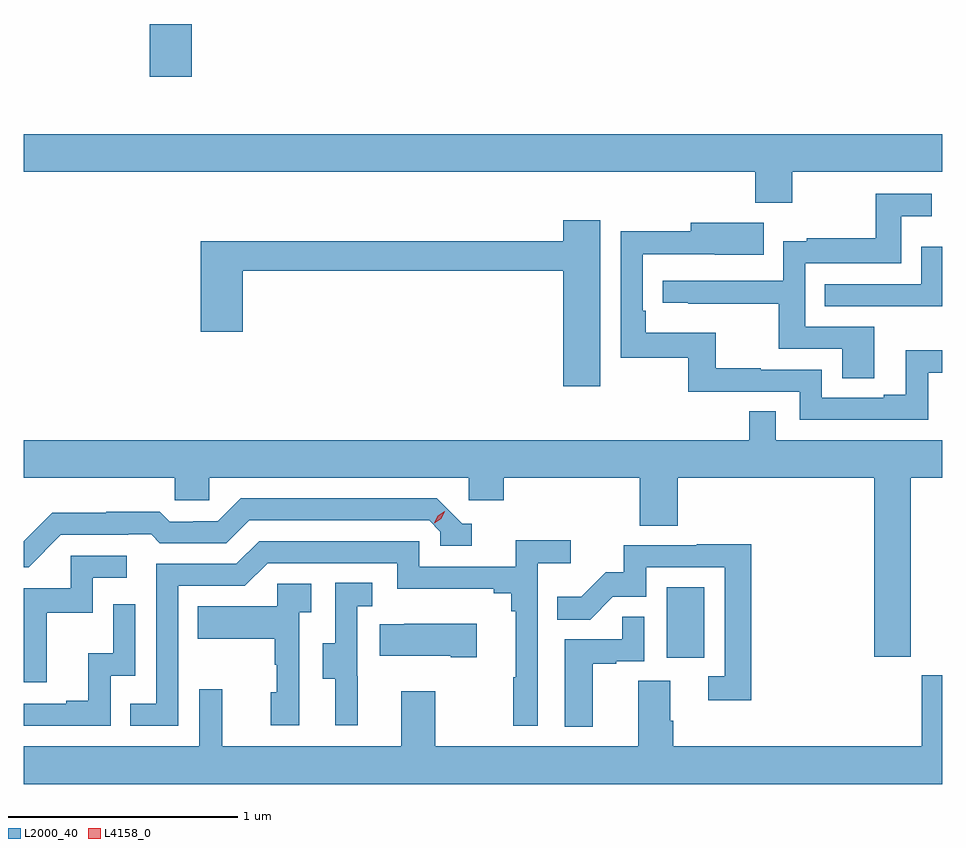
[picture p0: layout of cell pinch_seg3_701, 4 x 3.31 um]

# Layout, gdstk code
import gdstk
lib = gdstk.Library(unit=1e-6, precision=1e-09)
def R(c, l, rs):  # rectangles x0, y0, x1, y1
    for r in rs: c.add(gdstk.rectangle(r[:2], r[2:], *l))
def P(c, l, *ps):  # polygons
    for p in ps: c.add(gdstk.Polygon(p, *l))
L2000_40 = (2000, 40)
L4158_0 = (4158, 0)

pinch_seg3_701 = lib.new_cell('pinch_seg3_701')
R(pinch_seg3_701, L2000_40, [(1108.862,673.494,1109.026,673.801), (1106.612,676.023,1106.795,676.252)])
P(pinch_seg3_701, L2000_40, [(1109.409,675.608),(1110.063,675.608),(1110.063,675.772),(1106.063,675.772),(1106.063,675.608),(1109.249,675.608),(1109.249,675.473),(1109.409,675.473)],
  [(1109.767,674.934),(1109.466,674.934),(1109.466,675.21),(1109.883,675.21),(1109.883,675.416),(1110.017,675.416),(1110.017,675.513),(1109.772,675.513),(1109.772,675.319),(1109.473,675.319),(1109.473,675.307),(1109.37,675.307),(1109.37,675.135),(1108.845,675.135),(1108.845,675.039),(1108.957,675.039),(1108.957,675.034),(1109.35,675.034),(1109.35,674.838),(1109.627,674.838),(1109.627,674.71),(1109.767,674.71)],
  [(1108.573,675.397),(1108.412,675.397),(1108.412,675.307),(1106.834,675.307),(1106.834,674.913),(1107.017,674.913),(1107.017,675.178),(1108.412,675.178),(1108.412,674.676),(1108.573,674.676)],
  [(1110,674.733),(1110.063,674.733),(1110.063,674.831),(1109.903,674.831),(1109.903,674.638),(1109.807,674.638),(1109.807,674.625),(1109.538,674.625),(1109.538,674.748),(1109.273,674.748),(1109.273,674.753),(1109.077,674.753),(1109.077,674.908),(1108.772,674.908),(1108.772,675.004),(1108.758,675.004),(1108.758,675.249),(1109.071,675.249),(1109.071,675.248),(1109.285,675.248),(1109.285,675.388),(1108.967,675.388),(1108.967,675.35),(1108.662,675.35),(1108.662,674.799),(1108.956,674.799),(1108.956,674.652),(1109.442,674.652),(1109.442,674.529),(1110,674.529)],
  [(1110.063,675.283),(1109.97,675.283),(1109.97,675.12),(1109.551,675.12),(1109.551,675.024),(1110.063,675.024)],
  [(1109.925,674.276),(1110.063,674.276),(1110.063,674.44),(1109.337,674.44),(1109.337,674.567),(1109.221,674.567),(1109.221,674.44),(1106.063,674.44),(1106.063,674.276),(1106.721,674.276),(1106.721,674.178),(1106.871,674.178),(1106.871,674.276),(1108.002,674.276),(1108.002,674.178),(1108.154,674.178),(1108.154,674.276),(1108.745,674.276),(1108.745,674.068),(1108.91,674.068),(1108.91,674.276),(1109.765,674.276),(1109.765,673.497),(1109.925,673.497)],
  [(1106.226,674.028),(1106.519,674.028),(1106.519,674.031),(1106.618,674.031),(1106.657,673.992),(1106.946,673.992),(1107.045,674.091),(1107.828,674.091),(1107.876,674.043),(1107.876,673.98),(1108.015,673.98),(1108.015,674.076),(1107.972,674.076),(1107.861,674.187),(1107.008,674.187),(1106.909,674.088),(1106.802,674.088),(1106.802,674.085),(1106.699,674.085),(1106.657,674.128),(1106.424,674.128),(1106.424,674.125),(1106.188,674.125),(1106.063,674),(1106.063,673.887),(1106.085,673.887)],
  [(1106.736,673.806),(1107.027,673.806),(1107.126,673.905),(1107.69,673.905),(1107.69,673.793),(1108.109,673.793),(1108.109,673.774),(1108.186,673.774),(1108.186,673.697),(1108.205,673.697),(1108.205,673.409),(1108.194,673.409),(1108.194,673.197),(1108.302,673.197),(1108.302,673.904),(1108.444,673.904),(1108.444,674.006),(1108.205,674.006),(1108.205,673.89),(1107.786,673.89),(1107.786,674.001),(1107.089,674.001),(1106.99,673.902),(1106.64,673.902),(1106.64,673.293),(1106.527,673.293),(1106.527,673.197),(1106.736,673.197)],
  [(1109.231,673.988),(1108.993,673.988),(1108.993,673.983),(1108.675,673.983),(1108.675,673.866),(1108.598,673.866),(1108.491,673.759),(1108.387,673.759),(1108.387,673.66),(1108.53,673.66),(1108.628,673.758),(1108.773,673.758),(1108.773,673.887),(1109.115,673.887),(1109.115,673.413),(1109.043,673.413),(1109.043,673.308),(1109.231,673.308)],
  [(1106.165,673.689),(1106.364,673.689),(1106.364,673.842),(1106.512,673.842),(1106.512,673.938),(1106.268,673.938),(1106.268,673.797),(1106.063,673.797),(1106.063,673.386),(1106.165,673.386)],
  [(1107.518,673.413),(1107.516,673.413),(1107.516,673.717),(1107.58,673.717),(1107.58,673.82),(1107.42,673.82),(1107.42,673.557),(1107.365,673.557),(1107.365,673.402),(1107.419,673.402),(1107.419,673.2),(1107.518,673.2)],
  [(1107.264,673.691),(1107.316,673.691),(1107.316,673.815),(1107.168,673.815),(1107.168,673.717),(1106.821,673.717),(1106.821,673.577),(1107.156,673.577),(1107.156,673.463),(1107.166,673.463),(1107.166,673.344),(1107.14,673.344),(1107.14,673.2),(1107.264,673.2)],
  [(1106.442,673.416),(1106.55,673.416),(1106.55,673.726),(1106.454,673.726),(1106.454,673.514),(1106.345,673.514),(1106.345,673.306),(1106.249,673.306),(1106.249,673.293),(1106.063,673.293),(1106.063,673.197),(1106.442,673.197)],
  [(1108.54,673.467),(1108.643,673.467),(1108.643,673.479),(1108.764,673.479),(1108.764,673.673),(1108.669,673.673),(1108.669,673.575),(1108.418,673.575),(1108.418,673.193),(1108.54,673.193)],
  [(1108.036,673.642),(1107.721,673.642),(1107.721,673.639),(1107.613,673.639),(1107.613,673.502),(1107.923,673.502),(1107.923,673.495),(1108.036,673.495)],
  [(1110.063,673.417),(1109.972,673.417),(1109.972,673.108),(1108.892,673.108),(1108.892,673.22),(1108.879,673.22),(1108.879,673.394),(1108.739,673.394),(1108.739,673.108),(1107.855,673.108),(1107.855,673.348),(1107.707,673.348),(1107.707,673.108),(1106.927,673.108),(1106.927,673.357),(1106.829,673.357),(1106.829,673.108),(1106.063,673.108),(1106.063,672.944),(1110.063,672.944)])
P(pinch_seg3_701, L4158_0, [(1107.85,674.079),(1107.85,674.079),(1107.866,674.111),(1107.897,674.131),(1107.897,674.131),(1107.897,674.131),(1107.881,674.098),(1107.85,674.079)])

lib.write_gds('pinch_seg3_701.gds')
